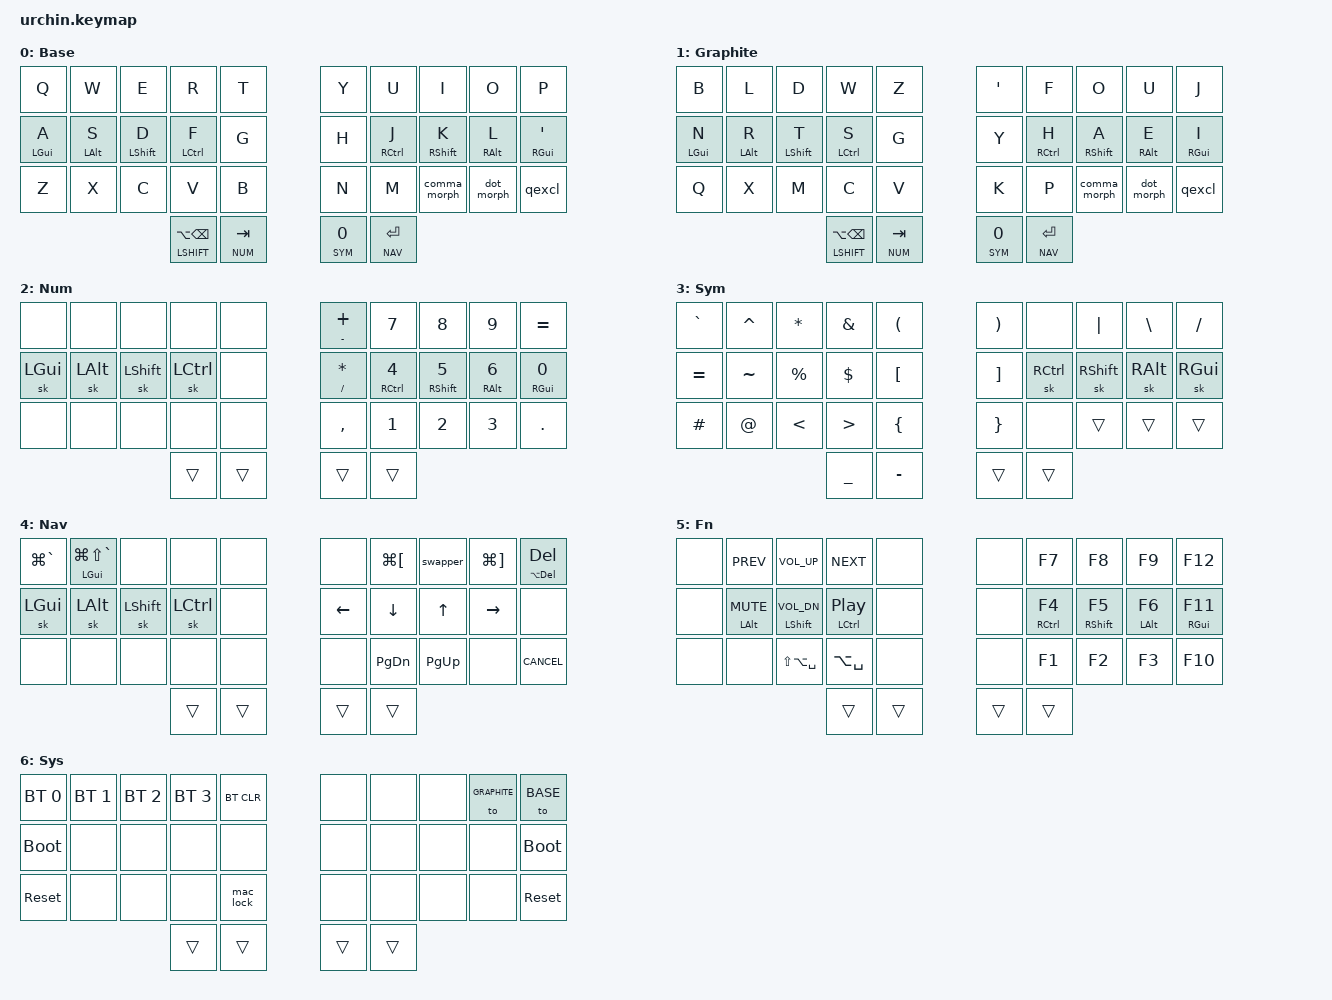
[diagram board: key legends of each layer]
#define HOST_OS 2 // macOS

#include <behaviors.dtsi>
#include <dt-bindings/zmk/keys.h>
#include <dt-bindings/zmk/bt.h>
#include <zmk-helpers/helper.h>
#include <zmk-helpers/key-labels/34.h>
#include <dt-bindings/zmk/behaviors.h>
#include <behaviors/num_word.dtsi>
#include <behaviors/unicode.dtsi>

// Layers
#define BASE 0
#define GRAPHITE 1
#define NUM 2
#define SYM 3
#define NAV 4
#define FN 5
#define SYS 6

// Timings
#define QUICK_TAP_MS 150
#define HRM_TAPPING_TERM 230
#define HRM_PRIOR_IDLE 130
#define TAPPING_TERM_MS 230
#define TAPPING_TERM_MS_TAP 230
#define STICKY_RELEASE_MS 900
#define PASTE_DELAY_MS 300
#define COMBO_TERM_FAST 35
#define COMBO_TERM_SLOW 50
#define COMBO_IDLE_FAST 100
#define COMBO_IDLE_SLOW 50

#define KEYS_L LT0 LT1 LT2 LT3 LT4 LM0 LM1 LM2 LM3 LM4 LB0 LB1 LB2 LB3 LB4
#define KEYS_R RT0 RT1 RT2 RT3 RT4 RM0 RM1 RM2 RM3 RM4 RB0 RB1 RB2 RB3 RB4
#define THUMBS LH1 LH0 RH0 RH1

#define XXX &none
#define ___ &trans

#define MAKE_HRM(NAME, HOLD, TAP, TRIGGER_POS, TAPPING_TERM, PRIOR_IDLE) \
  ZMK_HOLD_TAP(NAME, \
    bindings = <HOLD>, <TAP>; \
    flavor = "balanced"; \
    tapping-term-ms = <TAPPING_TERM>; \
    quick-tap-ms = <QUICK_TAP_MS>; \
    require-prior-idle-ms = <PRIOR_IDLE>; \
    hold-trigger-key-positions = <TRIGGER_POS>; \
    hold-trigger-on-release; \
  )

MAKE_HRM(hml, &kp, &kp, KEYS_R THUMBS, HRM_TAPPING_TERM, HRM_PRIOR_IDLE) // Left-hand HRMs.
MAKE_HRM(hmr, &kp, &kp, KEYS_L THUMBS, HRM_TAPPING_TERM, HRM_PRIOR_IDLE) // Right-hand HRMs.

// Hack: Make HRM combos tap-only (cf, ZMK issue #544).
#define ZMK_COMBO_8(NAME, TAP, POS, LAYERS, COMBO_MS, IDLE_MS, HOLD, SIDE) \
  MAKE_HRM(hm_combo_##NAME, &kp, TAP, SIDE THUMBS, HRM_TAPPING_TERM, HRM_PRIOR_IDLE) \
  ZMK_COMBO_6(NAME, &hm_combo_##NAME HOLD 0, POS, LAYERS, COMBO_MS, IDLE_MS)

// Both chars
ZMK_MACRO(both_par, bindings = <&kp LEFT_PARENTHESIS &kp RIGHT_PARENTHESIS &kp LEFT_ARROW>;)
ZMK_MACRO(both_brk, bindings = <&kp LEFT_BRACKET &kp RIGHT_BRACKET &kp LEFT_ARROW>;)
ZMK_MACRO(both_brc, bindings = <&kp LEFT_BRACE &kp RIGHT_BRACE &kp LEFT_ARROW>;)

// Mac
ZMK_MACRO(mac_lock, bindings = <&kp LC(LG(Q))>;)
ZMK_MACRO(mac_cut, bindings = <&kp LG(X)>;)

&sk { // Sticky Key
  release-after-ms = <STICKY_RELEASE_MS>;
  quick-release;
};

&lt { // Layer Tap
  flavor = "balanced";
  tapping-term-ms = <TAPPING_TERM_MS>;
  quick-tap-ms = <QUICK_TAP_MS>;
};

&caps_word {
  /delete-property/ ignore-modifiers;
};

// Trigger tap-action on all interrupts.
#define MT_CORE \
  flavor = "tap-preferred"; \
  tapping-term-ms = <TAPPING_TERM_MS_TAP>; \
  quick-tap-ms = <TAPPING_TERM_MS_TAP>; \
  hold-trigger-key-positions = <0>;

&mt { 
  MT_CORE
};

// LGUI+Tab swapper, requires tri-state module.
ZMK_TRI_STATE(swapper, bindings = <&kt LGUI>, <&kp TAB>, <&kt LGUI>;
              ignored-key-positions = <LT2 RT2 RM1 RM2 RM3>;)

// Define mod-morph with a *single* mod trigger for less repetition.
#define SIMPLE_MORPH(NAME, MOD, BINDING1, BINDING2)                            \
  ZMK_MOD_MORPH(NAME, mods = <(MOD_L##MOD | MOD_R##MOD)>;                      \
                bindings = <BINDING1>, <BINDING2>;)

// Tap: comma | Shift + tap: semicolon | Ctrl + shift + tap: <.
SIMPLE_MORPH(comma_morph, SFT, &kp COMMA, &comma_inner_morph)
SIMPLE_MORPH(comma_inner_morph, CTL, &kp SEMICOLON, &kp LESS_THAN)

// Tap: dot | Shift + tap: colon | Ctrl + shift + tap: >.
SIMPLE_MORPH(dot_morph, SFT, &kp DOT, &dot_inner_morph)
SIMPLE_MORPH(dot_inner_morph, CTL, &kp COLON, &kp GREATER_THAN)

// Tap: qmark | Shift + tap: excl.
SIMPLE_MORPH(qexcl, SFT, &kp QMARK, &kp EXCL)

// Tap: space | Shift + tap: dot -> space -> sticky shift | Hold: layer.
ZMK_HOLD_TAP(lt_spc, bindings = <&mo>, <&spc_morph>; flavor = "balanced";
             tapping-term-ms = <TAPPING_TERM_MS>; quick-tap-ms = <QUICK_TAP_MS>;)
SIMPLE_MORPH(spc_morph, SFT, &kp SPACE, &dot_spc)
ZMK_MACRO(dot_spc, bindings = <&kp DOT &kp SPACE &sk LSHIFT>; wait-ms = <0>;
          tap-ms = <5>;)

// Tap: bspc | Hold: shift
ZMK_HOLD_TAP(lt_shift, bindings = <&sk>, <&kp>; flavor = "balanced";
             tapping-term-ms = <TAPPING_TERM_MS>; quick-tap-ms = <QUICK_TAP_MS>;)

// Tap: backspace | Lshift + tap: delete | Rshift + tap: shift-delete.
ZMK_MOD_MORPH(bs_del, bindings = <&kp BSPC>, <&kp DEL>;
              mods = <(MOD_LSFT|MOD_RSFT)>; keep-mods = <MOD_RSFT>;)

// Tap: copy | long-tap: cut (single execution, no repeat).
ZMK_HOLD_TAP(mt_copy, bindings = <&mac_cut>, <&kp>; MT_CORE)

// Paste with initial delay before repeat
ZMK_HOLD_TAP(ht_delayed_paste,
  bindings = <&kp>, <&kp>;
  flavor = "hold-preferred";
  tapping-term-ms = <PASTE_DELAY_MS>;  // delay before repeat starts (ms)
  quick-tap-ms = <0>;
  hold-trigger-key-positions = <0>;
)

ZMK_CONDITIONAL_LAYER(sys, SYM NUM, SYS)
ZMK_CONDITIONAL_LAYER(fn, SYM NAV, FN)

/*                KEY POSITIONS
 * ╭─────────────────────╮ ╭─────────────────────╮
 * │ LT4 LT3 LT2 LT1 LT0 │ │ RT0 RT1 RT2 RT3 RT4 │
 * │ LM4 LM3 LM2 LM1 LM0 │ │ RM0 RM1 RM2 RM3 RM4 │
 * │ LB4 LB3 LB2 LB1 LB0 │ │ RB0 RB1 RB2 RB3 RB4 │
 * ╰───────────╮ LH1 LH0 │ │ RH0 RH1 ╭───────────╯
 *             ╰─────────╯ ╰─────────╯
 */



#define COPY_CUT &mt_copy 0 LG(C)
#define PASTE &ht_delayed_paste LG(V) LG(V)

/* HORIZONTAL COMBOS */

/* left hand */
ZMK_COMBO(esc,   &kp ESC,      LM2 LM1,     BASE SYM NAV NUM FN SYS, COMBO_TERM_FAST, COMBO_IDLE_FAST)
ZMK_COMBO(bspc,  &kp BSPC,     LT2 LT1,     BASE SYM NAV NUM FN SYS, COMBO_TERM_FAST, COMBO_IDLE_FAST)
ZMK_COMBO(del,   &kp DEL,      LT3 LT2,     BASE SYM NAV NUM FN SYS, COMBO_TERM_FAST, COMBO_IDLE_FAST)
ZMK_COMBO(cut,   &kp LG(X),    LB3 LB1,     BASE, COMBO_TERM_FAST, COMBO_IDLE_FAST)
ZMK_COMBO(copy,  COPY_CUT,     LB3 LB2,     BASE, COMBO_TERM_FAST, COMBO_IDLE_FAST)
ZMK_COMBO(paste, PASTE,        LB2 LB1,     BASE, COMBO_TERM_FAST, COMBO_IDLE_FAST)

/* right hand */
ZMK_COMBO(resc,  &kp ESC,     RM1 RM2,     BASE SYM NAV NUM FN SYS, COMBO_TERM_FAST, COMBO_IDLE_FAST)
ZMK_COMBO(rbspc, &kp BSPC,    RT1 RT2,     BASE SYM NAV NUM FN SYS, COMBO_TERM_FAST, COMBO_IDLE_FAST)
ZMK_COMBO(rdel,  &kp DEL,     RT2 RT3,     BASE SYM NAV NUM FN SYS, COMBO_TERM_FAST, COMBO_IDLE_FAST)

/* left+right hands */
ZMK_COMBO(caps, &caps_word, LM2 RM2, BASE, COMBO_TERM_FAST, COMBO_IDLE_FAST)

/* symbol combos */
ZMK_COMBO(both_par, &both_par, LT0 RT0, BASE, COMBO_TERM_FAST, COMBO_IDLE_FAST)
ZMK_COMBO(both_brk, &both_brk, LM0 RM0, BASE, COMBO_TERM_FAST, COMBO_IDLE_FAST)
ZMK_COMBO(both_brc, &both_brc, LB0 RB0, BASE, COMBO_TERM_FAST, COMBO_IDLE_FAST)
ZMK_COMBO(lpar,  &kp LPAR,     LT0 LT1,     BASE, COMBO_TERM_FAST, COMBO_IDLE_FAST)
ZMK_COMBO(rpar,  &kp RPAR,     RT0 RT1,     BASE, COMBO_TERM_FAST, COMBO_IDLE_FAST)
ZMK_COMBO(lbkt,  &kp LBKT,     LM0 LM1,     BASE, COMBO_TERM_FAST, COMBO_IDLE_FAST)
ZMK_COMBO(rbkt,  &kp RBKT,     RM0 RM1,     BASE, COMBO_TERM_FAST, COMBO_IDLE_FAST)
ZMK_COMBO(lbrc,  &kp LBRC,     LB0 LB1,     BASE, COMBO_TERM_FAST, COMBO_IDLE_FAST)
ZMK_COMBO(rbrc,  &kp RBRC,     RB0 RB1,     BASE, COMBO_TERM_FAST, COMBO_IDLE_FAST)

/* smart numbers combo */
ZMK_COMBO(smart_num, &num_word NUM, RM3 RM4, BASE, COMBO_TERM_FAST, COMBO_IDLE_FAST)

/* VERTICAL COMBOS */


// Shorter names
#define NAV_LEFT  &kp LEFT                     // Tap: left  | Cmd+Tap: start of line (native).
#define NAV_RIGHT &kp RIGHT                    // Tap: right | Cmd+Tap: end   of line (native).
#define NAV_UP    &kp UP                       // Tap: up    | Cmd+Tap: start of doc (native).
#define NAV_DOWN  &kp DOWN                     // Tap: down  | Cmd+Tap: end   of doc (native).
#define MT_DEL    &mt LA(DEL) DEL              // Tap: del   | Long-tap: delete word fwd.
#define CANCEL    &kp K_CANCEL                 // Cancel caps-word & auto-layers.
#define WIN_CYCLE &kp LG(GRAVE)                // Cycle through windows.
#define WIN_CYCLE_REV &hml LGUI LG(LS(GRAVE))  // Cycle through windows in reverse.
#define VOL_DOWN  &hml LSHIFT C_VOL_DN         // Volume down.
#define PLAY_PAUSE &hml LCTRL C_PP             // Play/pause.
#define MUTE &hml LALT C_MUTE                  // Mute.
#define TRANSLATE &kp LA(SPACE)
#define CHATGPT &kp LS(LA(SPACE))
#define GO_BACK &kp LG(LBKT)
#define GO_FORWD &kp LG(RBKT)
#define SHIFT_BSPC &lt_shift LSHIFT LA(BSPC)
#define NUM_A &hml LGUI LG(A)
#define NUM_S &hml LALT LG(S)
#define NUM_D &hml LSHIFT LG(D)
#define NUM_F &hml LCTRL LG(F)
#define NUM_PLUS &mt MINUS PLUS
#define NUM_MULTI &mt SLASH ASTERISK


ZMK_LAYER(Base,
//╭─────────────┬─────────────┬─────────────┬─────────────┬─────────────╮ ╭─────────────┬─────────────┬─────────────┬─────────────┬─────────────╮
    &kp Q         &kp W         &kp E         &kp R         &kp T           &kp Y         &kp U         &kp I         &kp O         &kp P        
//├─────────────┼─────────────┼─────────────┼─────────────┼─────────────┤ ├─────────────┼─────────────┼─────────────┼─────────────┼─────────────┤
    &hml LGUI A &hml LALT S   &hml LSHIFT D   &hml LCTRL F  &kp G           &kp H        &hmr RCTRL J &hmr RSHIFT K   &hmr RALT L   &hmr RGUI SQT
//├─────────────┼─────────────┼─────────────┼─────────────┼─────────────┤ ├─────────────┼─────────────┼─────────────┼─────────────┼─────────────┤
    &kp Z         &kp X         &kp C         &kp V         &kp B           &kp N         &kp M         &comma_morph  &dot_morph    &qexcl       
//╰─────────────┴─────────────┴─────────────┼─────────────┼─────────────┤ ├─────────────┼─────────────┼─────────────┴─────────────┴─────────────╯
                                              SHIFT_BSPC    &lt NUM TAB    &lt_spc SYM 0 &lt NAV RET
//                                          ╰─────────────┴─────────────╯ ╰─────────────┴─────────────╯
)


ZMK_LAYER(Graphite,
//╭─────────────┬─────────────┬─────────────┬─────────────┬─────────────╮ ╭─────────────┬─────────────┬─────────────┬─────────────┬─────────────╮
    &kp B         &kp L         &kp D         &kp W         &kp Z           &kp SQT       &kp F         &kp O         &kp U         &kp J        
//├─────────────┼─────────────┼─────────────┼─────────────┼─────────────┤ ├─────────────┼─────────────┼─────────────┼─────────────┼─────────────┤
    &hml LGUI N &hml LALT R   &hml LSHIFT T   &hml LCTRL S  &kp G           &kp Y        &hmr RCTRL H &hmr RSHIFT A   &hmr RALT E   &hmr RGUI I
//├─────────────┼─────────────┼─────────────┼─────────────┼─────────────┤ ├─────────────┼─────────────┼─────────────┼─────────────┼─────────────┤
    &kp Q         &kp X         &kp M         &kp C         &kp V           &kp K         &kp P         &comma_morph  &dot_morph    &qexcl       
//╰─────────────┴─────────────┴─────────────┼─────────────┼─────────────┤ ├─────────────┼─────────────┼─────────────┴─────────────┴─────────────╯
                                              SHIFT_BSPC    &lt NUM TAB    &lt_spc SYM 0 &lt NAV RET
//                                          ╰─────────────┴─────────────╯ ╰─────────────┴─────────────╯
)


ZMK_LAYER(Num,
//╭─────────────┬─────────────┬─────────────┬─────────────┬─────────────╮ ╭─────────────┬─────────────┬─────────────┬─────────────┬─────────────╮
    XXX           XXX           XXX           XXX           XXX             NUM_PLUS     &kp N7        &kp N8         &kp N9        &kp EQUAL          
//├─────────────┼─────────────┼─────────────┼─────────────┼─────────────┤ ├─────────────┼─────────────┼─────────────┼─────────────┼─────────────┤
    &sk LGUI      &sk LALT      &sk LSHIFT    &sk LCTRL     XXX             NUM_MULTI    &hmr RCTRL N4 &hmr RSHIFT N5 &hmr RALT N6  &hmr RGUI N0
//├─────────────┼─────────────┼─────────────┼─────────────┼─────────────┤ ├─────────────┼─────────────┼─────────────┼─────────────┼─────────────┤
    XXX           XXX           XXX           XXX           XXX             &kp COMMA    &kp N1        &kp N2        &kp N3         &kp DOT         
//╰─────────────┴─────────────┴─────────────┼─────────────┼─────────────┤ ├─────────────┼─────────────┼─────────────┴─────────────┴─────────────╯
                                              ___           ___             ___           ___
//                                          ╰─────────────┴─────────────╯ ╰─────────────┴─────────────╯
)


ZMK_LAYER(Sym,
//╭─────────────┬─────────────┬─────────────┬─────────────┬─────────────╮   ╭─────────────┬─────────────┬─────────────┬─────────────┬─────────────╮
    &kp GRAVE    &kp CARET     &kp ASTRK     &kp AMPS       &kp LPAR          &kp RPAR      XXX           &kp PIPE      &kp BACKSLASH &kp SLASH
//├─────────────┼─────────────┼─────────────┼─────────────┼─────────────┤   ├─────────────┼─────────────┼─────────────┼─────────────┼─────────────┤
    &kp EQUAL    &kp TILDE     &kp PRCNT     &kp DLLR       &kp LBKT          &kp RBKT      &sk RCTRL     &sk RSHIFT    &sk RALT      &sk RGUI
//├─────────────┼─────────────┼─────────────┼─────────────┼─────────────┤   ├─────────────┼─────────────┼─────────────┼─────────────┼─────────────┤
    &kp HASH      &kp AT        &kp LT        &kp GT        &kp LBRC          &kp RBRC      XXX           ___           ___           ___
//╰─────────────┴─────────────┴─────────────┼─────────────┼─────────────┤   ├─────────────┼─────────────┼─────────────┴─────────────┴─────────────╯
                                              &kp UNDER     &kp MINUS         ___           ___
//                                          ╰─────────────┴─────────────╯   ╰─────────────┴─────────────╯
)

ZMK_LAYER(Nav,
//╭─────────────┬─────────────┬─────────────┬─────────────┬─────────────╮ ╭─────────────┬─────────────┬─────────────┬─────────────┬─────────────╮
    WIN_CYCLE     WIN_CYCLE_REV XXX           XXX           XXX             XXX           GO_BACK       &swapper     GO_FORWD      MT_DEL          
//├─────────────┼─────────────┼─────────────┼─────────────┼─────────────┤ ├─────────────┼─────────────┼─────────────┼─────────────┼─────────────┤
    &sk LGUI      &sk LALT      &sk LSHIFT    &sk LCTRL     XXX             NAV_LEFT      NAV_DOWN      NAV_UP       NAV_RIGHT      XXX      
//├─────────────┼─────────────┼─────────────┼─────────────┼─────────────┤ ├─────────────┼─────────────┼─────────────┼─────────────┼─────────────┤
    XXX           XXX           XXX           XXX           XXX             XXX           &kp PG_DN     &kp PG_UP    XXX           CANCEL          
//╰─────────────┴─────────────┴─────────────┼─────────────┼─────────────┤ ├─────────────┼─────────────┼─────────────┴─────────────┴─────────────╯
                                              ___           ___             ___           ___
//                                          ╰─────────────┴─────────────╯ ╰─────────────┴─────────────╯
)

ZMK_LAYER(Fn,
//╭─────────────┬─────────────┬─────────────┬─────────────┬─────────────╮ ╭─────────────┬─────────────┬─────────────┬─────────────┬─────────────╮
    XXX           &kp C_PREV    &kp C_VOL_UP  &kp C_NEXT     XXX            XXX           &kp F7        &kp F8        &kp F9        &kp F12       
//├─────────────┼─────────────┼─────────────┼─────────────┼─────────────┤ ├─────────────┼─────────────┼─────────────┼─────────────┼─────────────┤
    XXX           MUTE          VOL_DOWN      PLAY_PAUSE     XXX            XXX          &hmr RCTRL F4 &hmr RSHIFT F5 &hmr LALT F6  &hmr RGUI F11
//├─────────────┼─────────────┼─────────────┼─────────────┼─────────────┤ ├─────────────┼─────────────┼─────────────┼─────────────┼─────────────┤
    XXX           XXX           CHATGPT       TRANSLATE      XXX            XXX           &kp F1        &kp F2        &kp F3        &kp F10       
//╰─────────────┴─────────────┴─────────────┼─────────────┼─────────────┤ ├─────────────┼─────────────┼─────────────┴─────────────┴─────────────╯
                                              ___            ___            ___           ___
//                                          ╰─────────────┴─────────────╯ ╰─────────────┴─────────────╯
)

ZMK_LAYER(Sys,
//╭─────────────┬─────────────┬─────────────┬─────────────┬─────────────╮ ╭─────────────┬─────────────┬─────────────┬─────────────┬─────────────╮
    &bt BT_SEL 0  &bt BT_SEL 1  &bt BT_SEL 2  &bt BT_SEL 3  &bt BT_CLR       XXX           XXX           XXX          &to GRAPHITE  &to BASE          
//├─────────────┼─────────────┼─────────────┼─────────────┼─────────────┤ ├─────────────┼─────────────┼─────────────┼─────────────┼─────────────┤
    &bootloader   XXX           XXX           XXX           XXX              XXX           XXX           XXX           XXX          &bootloader 
//├─────────────┼─────────────┼─────────────┼─────────────┼─────────────┤ ├─────────────┼─────────────┼─────────────┼─────────────┼─────────────┤
    &sys_reset    XXX           XXX           XXX           &mac_lock        XXX           XXX           XXX           XXX          &sys_reset 
//╰─────────────┴─────────────┴─────────────┼─────────────┼─────────────┤ ├─────────────┼─────────────┼─────────────┴─────────────┴─────────────╯
                                              ___           ___             ___           ___
//                                          ╰─────────────┴─────────────╯ ╰─────────────┴─────────────╯
)

/* vim: set ft=c tw=146: */
